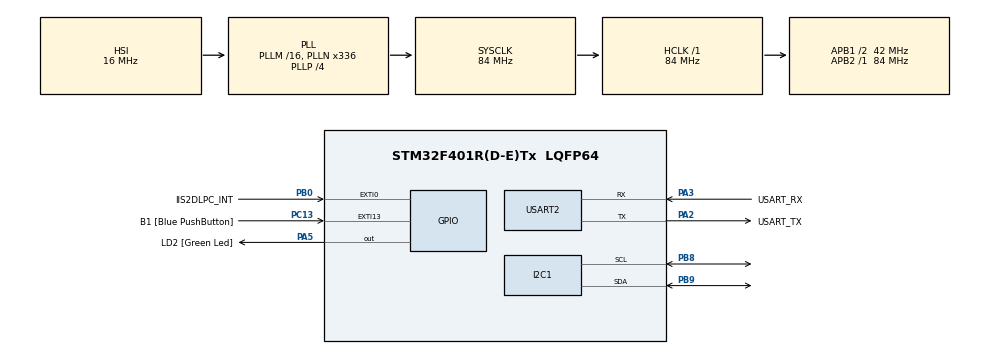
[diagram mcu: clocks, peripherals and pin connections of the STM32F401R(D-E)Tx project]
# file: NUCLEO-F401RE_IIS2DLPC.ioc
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Mcu.Family=STM32F4
Mcu.Name=STM32F401R(D-E)Tx
Mcu.Package=LQFP64
NVIC.EXTI0_IRQn=true\:0\:0\:false\:false\:true\:true\:true\:true
NVIC.EXTI15_10_IRQn=true\:0\:0\:false\:false\:true\:true\:true\:true
NVIC.PriorityGroup=NVIC_PRIORITYGROUP_0
PA2.GPIO_Label=USART_TX
PA2.GPIO_Mode=GPIO_MODE_AF_PP
PA2.GPIO_PuPd=GPIO_NOPULL
PA2.GPIO_Speed=GPIO_SPEED_FREQ_LOW
PA2.Mode=Asynchronous
PA2.Signal=USART2_TX
PA3.GPIO_Label=USART_RX
PA3.GPIO_Mode=GPIO_MODE_AF_PP
PA3.GPIO_PuPd=GPIO_NOPULL
PA3.GPIO_Speed=GPIO_SPEED_FREQ_LOW
PA3.Mode=Asynchronous
PA3.Signal=USART2_RX
PA5.GPIO_Label=LD2 [Green Led]
PA5.GPIO_Mode=GPIO_MODE_OUTPUT_PP
PA5.GPIO_PuPd=GPIO_NOPULL
PA5.GPIO_Speed=GPIO_SPEED_FREQ_LOW
PA5.Signal=GPIO_Output
PB0.GPIO_Label=IIS2DLPC_INT
PB0.Signal=GPXTI0
PB8.Mode=I2C
PB8.Signal=I2C1_SCL
PB9.Mode=I2C
PB9.Signal=I2C1_SDA
PC13-ANTI_TAMP.GPIO_Label=B1 [Blue PushButton]
PC13-ANTI_TAMP.GPIO_ModeDefaultEXTI=GPIO_MODE_IT_FALLING
PC13-ANTI_TAMP.GPIO_PuPd=GPIO_NOPULL
PC13-ANTI_TAMP.Signal=GPXTI13
ProjectManager.HeapSize=0x200
ProjectManager.StackSize=0x400
ProjectManager.TargetToolchain=STM32CubeIDE
RCC.AHBFreq_Value=84000000
RCC.APB1CLKDivider=RCC_HCLK_DIV2
RCC.APB1Freq_Value=42000000
RCC.APB1TimFreq_Value=84000000
RCC.APB2Freq_Value=84000000
RCC.APB2TimFreq_Value=84000000
RCC.CortexFreq_Value=84000000
RCC.HCLKFreq_Value=84000000
RCC.HSE_VALUE=8000000
RCC.HSI_VALUE=16000000
RCC.LSE_VALUE=32768
RCC.PLLN=336
RCC.PLLP=RCC_PLLP_DIV4
RCC.PLLQ=7
RCC.SYSCLKFreq_VALUE=84000000
RCC.SYSCLKSource=RCC_SYSCLKSOURCE_PLLCLK
RCC.VCOOutputFreq_Value=336000000
USART2.VirtualMode=VM_ASYNC
board=NUCLEO-F401RE

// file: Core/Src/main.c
/* USER CODE BEGIN Header */
/**
 ******************************************************************************
 * @file           : main.c
 * @brief          : Main program body
 ******************************************************************************
 * @attention
 *
 * Copyright (c) 2022 STMicroelectronics.
 * All rights reserved.
 *
 * This software is licensed under terms that can be found in the LICENSE file
 * in the root directory of this software component.
 * If no LICENSE file comes with this software, it is provided AS-IS.
 *
 ******************************************************************************
 */
/* USER CODE END Header */
#include "main.h"

/* USER CODE BEGIN Includes */
#include <string.h>
#include <stdio.h>
#include <iis2dlpc_reg.h>
#include <cycle_dwt.h>
#include "NanoEdgeAI.h"

/* USER CODE END Includes */

/* USER CODE BEGIN PD */
/************************************************************ NEAI algorithm defines begin ************************************************************/
/************************************************************ Global settings part ************************************************************/
#ifndef AXIS
  #define AXIS             	3                       /* Axis should be defined between 1 and 3 */
#endif
#ifndef SAMPLES
  #define SAMPLES		128                   	/* Should be between 16 & 4096 */
#endif
/************************************************************ Sensors configuration part ************************************************************/
#ifndef ACCELEROMETER_ODR
  #define ACCELEROMETER_ODR   	IIS2DLPC_XL_ODR_1k6Hz   /* Shoud be between IIS2DLPC_XL_ODR_12Hz5 and IIS2DLPC_XL_ODR_6667Hz */
#endif
#ifndef ACCELEROMETER_FS
  #define ACCELEROMETER_FS   	IIS2DLPC_2g             /* Should be between IIS2DLPC_2g and IIS2DLPC_16g */
#endif
/************************************************************ Datalogger / NEAI mode part ************************************************************/
#ifndef NEAI_MODE
  #define NEAI_MODE        	0                       /* 0: Datalogger mode, 1: NEAI functions mode */
#endif
#if (NEAI_MODE == 1)
  #ifndef NEAI_LEARN_NB
    #define NEAI_LEARN_NB       20                      /* Number of buffers to be learn by the NEAI library */
  #endif
#endif
/************************************************************ NEAI algorithm defines end ************************************************************/
/* USER CODE END PD */

I2C_HandleTypeDef hi2c1;

UART_HandleTypeDef huart2;

/* USER CODE BEGIN PV */
static uint8_t whoamI, rst;
uint8_t neai_similarity = 0, neai_state = 0;
volatile uint8_t drdy = 0;
uint16_t neai_cnt = 0, drdy_counter = 0;
float neai_time = 0.0;
static float neai_buffer[AXIS * SAMPLES] = {0.0};
stmdev_ctx_t dev_ctx;
static int16_t data_raw_acceleration[3];

/* USER CODE END PV */

void SystemClock_Config(void);
static void MX_GPIO_Init(void);
static void MX_USART2_UART_Init(void);
static void MX_I2C1_Init(void);
/* USER CODE BEGIN PFP */
static int32_t platform_write(void *handle, uint8_t reg, const uint8_t *bufp, uint16_t len);
static int32_t platform_read(void *handle, uint8_t reg, uint8_t *bufp, uint16_t len);
static void iis2dlpc_initialize(void);
static void iis2dlpc_initialize_basics(void);
static float iis2dlpc_convert_accel_data_to_mg(int16_t accel_raw_data);
static void iks01a3_i2c_stuck_quirk(void);

/* USER CODE END PFP */

int main(void)
{
  /* USER CODE BEGIN 1 */
  /* Initialize mems driver interface */
  dev_ctx.write_reg = platform_write;
  dev_ctx.read_reg = platform_read;
  dev_ctx.handle = &hi2c1;

  /* USER CODE END 1 */

  /* MCU Configuration--------------------------------------------------------*/

  /* Reset of all peripherals, Initializes the Flash interface and the Systick. */
  HAL_Init();

  /* Configure the system clock */
  SystemClock_Config();

  /* USER CODE BEGIN SysInit */
  iks01a3_i2c_stuck_quirk();
  /* USER CODE END SysInit */

  /* Initialize all configured peripherals */
  MX_GPIO_Init();
  MX_USART2_UART_Init();
  MX_I2C1_Init();
  /* USER CODE BEGIN 2 */
  KIN1_InitCycleCounter();
  KIN1_EnableCycleCounter();
  iis2dlpc_initialize();
  if (NEAI_MODE) {
      neai_state = neai_anomalydetection_init();
      printf("Initialize NEAI library. NEAI init return: %d.\n",  neai_state);
  }
  /* USER CODE END 2 */

  /* Infinite loop */
  /* USER CODE BEGIN WHILE */
  while (1)
  {
    if (drdy) {
      /* Reset data ready condition */
      drdy = 0;
      memset(data_raw_acceleration, 0x00, 3 * sizeof(int16_t));
      iis2dlpc_acceleration_raw_get(&dev_ctx, data_raw_acceleration);
      for (uint8_t i = 0; i < AXIS; i++) {
        neai_buffer[(AXIS * drdy_counter) + i] = iis2dlpc_convert_accel_data_to_mg(data_raw_acceleration[i]);
      }
      drdy_counter++;
      if (drdy_counter >= SAMPLES) {
#if NEAI_MODE
	uint32_t cycles_cnt = 0;
	if (neai_cnt < NEAI_LEARN_NB) {
	  neai_cnt++;
	  KIN1_ResetCycleCounter();
	  neai_state = neai_anomalydetection_learn(neai_buffer);
	  cycles_cnt = KIN1_GetCycleCounter();
	  neai_time = (cycles_cnt * 1000000.0) / HAL_RCC_GetSysClockFreq();
	  printf("Learn: %d / %d. NEAI learn return: %d. Cycles counter: %ld = %.1f µs at %ld Hz.\n",
		 neai_cnt, NEAI_LEARN_NB, neai_state, cycles_cnt, neai_time, HAL_RCC_GetSysClockFreq());
	}
	else {
	  KIN1_ResetCycleCounter();
	  neai_state = neai_anomalydetection_detect(neai_buffer, &neai_similarity);
	  cycles_cnt = KIN1_GetCycleCounter();
	  neai_time = (cycles_cnt * 1000000.0) / HAL_RCC_GetSysClockFreq();
	  printf("Similarity: %d / 100. NEAI detect return: %d. Cycles counter: %ld = %.1f µs at %ld Hz.\n",
		 neai_similarity, neai_state, cycles_cnt, neai_time, HAL_RCC_GetSysClockFreq());
	}
#else
	for (uint16_t i = 0; i < AXIS * SAMPLES; i++) {
	    printf("%.3f ", neai_buffer[i]);
	}
	printf("\n");
#endif
	/* Reset drdy_counter in order to get a new buffer */
	drdy_counter = 0;
	/* Clean neai buffer */
	memset(neai_buffer, 0x00, AXIS * SAMPLES * sizeof(float));
	HAL_Delay(20);

      } /* drdy_counter >= SAMPLES */
    } /* drdy */

    /* USER CODE END WHILE */

  }
}

void SystemClock_Config(void)
{
  RCC_OscInitTypeDef RCC_OscInitStruct = {0};
  RCC_ClkInitTypeDef RCC_ClkInitStruct = {0};

  /** Configure the main internal regulator output voltage
  */
  __HAL_RCC_PWR_CLK_ENABLE();
  __HAL_PWR_VOLTAGESCALING_CONFIG(PWR_REGULATOR_VOLTAGE_SCALE2);

  /** Initializes the RCC Oscillators according to the specified parameters
  * in the RCC_OscInitTypeDef structure.
  */
  RCC_OscInitStruct.OscillatorType = RCC_OSCILLATORTYPE_HSI;
  RCC_OscInitStruct.HSIState = RCC_HSI_ON;
  RCC_OscInitStruct.HSICalibrationValue = RCC_HSICALIBRATION_DEFAULT;
  RCC_OscInitStruct.PLL.PLLState = RCC_PLL_ON;
  RCC_OscInitStruct.PLL.PLLSource = RCC_PLLSOURCE_HSI;
  RCC_OscInitStruct.PLL.PLLM = 16;
  RCC_OscInitStruct.PLL.PLLN = 336;
  RCC_OscInitStruct.PLL.PLLP = RCC_PLLP_DIV4;
  RCC_OscInitStruct.PLL.PLLQ = 7;
  if (HAL_RCC_OscConfig(&RCC_OscInitStruct) != HAL_OK)
  {
    Error_Handler();
  }

  /** Initializes the CPU, AHB and APB buses clocks
  */
  RCC_ClkInitStruct.ClockType = RCC_CLOCKTYPE_HCLK|RCC_CLOCKTYPE_SYSCLK
                              |RCC_CLOCKTYPE_PCLK1|RCC_CLOCKTYPE_PCLK2;
  RCC_ClkInitStruct.SYSCLKSource = RCC_SYSCLKSOURCE_PLLCLK;
  RCC_ClkInitStruct.AHBCLKDivider = RCC_SYSCLK_DIV1;
  RCC_ClkInitStruct.APB1CLKDivider = RCC_HCLK_DIV2;
  RCC_ClkInitStruct.APB2CLKDivider = RCC_HCLK_DIV1;

  if (HAL_RCC_ClockConfig(&RCC_ClkInitStruct, FLASH_LATENCY_2) != HAL_OK)
  {
    Error_Handler();
  }
}

static void MX_I2C1_Init(void)
{

  hi2c1.Instance = I2C1;
  hi2c1.Init.ClockSpeed = 100000;
  hi2c1.Init.DutyCycle = I2C_DUTYCYCLE_2;
  hi2c1.Init.OwnAddress1 = 0;
  hi2c1.Init.AddressingMode = I2C_ADDRESSINGMODE_7BIT;
  hi2c1.Init.DualAddressMode = I2C_DUALADDRESS_DISABLE;
  hi2c1.Init.OwnAddress2 = 0;
  hi2c1.Init.GeneralCallMode = I2C_GENERALCALL_DISABLE;
  hi2c1.Init.NoStretchMode = I2C_NOSTRETCH_DISABLE;
  if (HAL_I2C_Init(&hi2c1) != HAL_OK)
  {
    Error_Handler();
  }

}

static void MX_USART2_UART_Init(void)
{

  huart2.Instance = USART2;
  huart2.Init.BaudRate = 115200;
  huart2.Init.WordLength = UART_WORDLENGTH_8B;
  huart2.Init.StopBits = UART_STOPBITS_1;
  huart2.Init.Parity = UART_PARITY_NONE;
  huart2.Init.Mode = UART_MODE_TX_RX;
  huart2.Init.HwFlowCtl = UART_HWCONTROL_NONE;
  huart2.Init.OverSampling = UART_OVERSAMPLING_16;
  if (HAL_UART_Init(&huart2) != HAL_OK)
  {
    Error_Handler();
  }

}

static void MX_GPIO_Init(void)
{
  GPIO_InitTypeDef GPIO_InitStruct = {0};

  /* GPIO Ports Clock Enable */
  __HAL_RCC_GPIOC_CLK_ENABLE();
  __HAL_RCC_GPIOA_CLK_ENABLE();
  __HAL_RCC_GPIOB_CLK_ENABLE();

  /*Configure GPIO pin Output Level */
  HAL_GPIO_WritePin(LD2_GPIO_Port, LD2_Pin, GPIO_PIN_RESET);

  /*Configure GPIO pin : B1_Pin */
  GPIO_InitStruct.Pin = B1_Pin;
  GPIO_InitStruct.Mode = GPIO_MODE_IT_FALLING;
  GPIO_InitStruct.Pull = GPIO_NOPULL;
  HAL_GPIO_Init(B1_GPIO_Port, &GPIO_InitStruct);

  /*Configure GPIO pin : LD2_Pin */
  GPIO_InitStruct.Pin = LD2_Pin;
  GPIO_InitStruct.Mode = GPIO_MODE_OUTPUT_PP;
  GPIO_InitStruct.Pull = GPIO_NOPULL;
  GPIO_InitStruct.Speed = GPIO_SPEED_FREQ_LOW;
  HAL_GPIO_Init(LD2_GPIO_Port, &GPIO_InitStruct);

  /*Configure GPIO pin : IIS2DLPC_INT_Pin */
  GPIO_InitStruct.Pin = IIS2DLPC_INT_Pin;
  GPIO_InitStruct.Mode = GPIO_MODE_IT_RISING;
  GPIO_InitStruct.Pull = GPIO_NOPULL;
  HAL_GPIO_Init(IIS2DLPC_INT_GPIO_Port, &GPIO_InitStruct);

  /* EXTI interrupt init*/
  HAL_NVIC_SetPriority(EXTI0_IRQn, 0, 0);
  HAL_NVIC_EnableIRQ(EXTI0_IRQn);

  HAL_NVIC_SetPriority(EXTI15_10_IRQn, 0, 0);
  HAL_NVIC_EnableIRQ(EXTI15_10_IRQn);

}

/* USER CODE BEGIN 4 */
int __io_putchar(int ch)
{
  uint8_t c[1];
  c[0] = ch & 0x00FF;
  HAL_UART_Transmit(&huart2, &*c, 1, 10);
  return ch;
}

/**
 * @brief  EXTI line detection callback.
 * @param  GPIO_Pin Specifies the port pin connected to corresponding EXTI line.
 * @retval None
 */
void HAL_GPIO_EXTI_Callback(uint16_t GPIO_Pin)
{
  switch(GPIO_Pin) {
    case IIS2DLPC_INT_Pin:
      drdy = 1;
      break;
  }
}

/*
 * @brief  Write generic device register (platform dependent)
 *
 * @param  handle    customizable argument. In this examples is used in
 *                   order to select the correct sensor bus handler.
 * @param  reg       register to write
 * @param  bufp      pointer to data to write in register reg
 * @param  len       number of consecutive register to write
 *
 */
static int32_t platform_write(void *handle, uint8_t reg, const uint8_t *bufp, uint16_t len)
{
  HAL_I2C_Mem_Write(handle, IIS2DLPC_I2C_ADD_H, reg, I2C_MEMADD_SIZE_8BIT, (uint8_t*) bufp, len, 1000);
  return 0;
}

/*
 * @brief  Read generic device register (platform dependent)
 *
 * @param  handle    customizable argument. In this examples is used in
 *                   order to select the correct sensor bus handler.
 * @param  reg       register to read
 * @param  bufp      pointer to buffer that store the data read
 * @param  len       number of consecutive register to read
 *
 */
static int32_t platform_read(void *handle, uint8_t reg, uint8_t *bufp, uint16_t len)
{
  HAL_I2C_Mem_Read(handle, IIS2DLPC_I2C_ADD_H, reg, I2C_MEMADD_SIZE_8BIT, bufp, len, 1000);
  return 0;
}

/*
 * @brief  Initialize IIS2DLPC sensor interface
 *
 * @param  No
 *
 * @return No
 *
 */
static void iis2dlpc_initialize()
{
  iis2dlpc_ctrl4_int1_pad_ctrl_t ctrl_reg;
  iis2dlpc_initialize_basics();
  /* Enable Block Data Update */
  iis2dlpc_block_data_update_set(&dev_ctx, PROPERTY_ENABLE);
  /* Accelelerometer configuration */
  iis2dlpc_data_rate_set(&dev_ctx, ACCELEROMETER_ODR);
  iis2dlpc_full_scale_set(&dev_ctx, ACCELEROMETER_FS);
  iis2dlpc_pin_int1_route_get(&dev_ctx, &ctrl_reg);
  ctrl_reg.int1_drdy = PROPERTY_ENABLE;
  iis2dlpc_pin_int1_route_set(&dev_ctx, &ctrl_reg);
}

/*
 * @brief  Initialize IIS2DLPC basics
 *
 * @param  No
 *
 * @return No
 *
 */
static void iis2dlpc_initialize_basics()
{
  /* Check device ID */
  whoamI = 0;

  do {
      HAL_Delay(20);
      iis2dlpc_device_id_get(&dev_ctx, &whoamI);
  } while(whoamI != IIS2DLPC_ID);

  /* Restore default configuration */
  iis2dlpc_reset_set(&dev_ctx, PROPERTY_ENABLE);

  do {
      iis2dlpc_reset_get(&dev_ctx, &rst);
  } while (rst);
}

/*
 * @brief  Convert accelerometer raw data to milli-G' (mg)
 *
 * @param  accel_raw_data: which is accelerometer raw data
 *                        depending on the full scale selected
 *
 * @return The converted value in milli-G' (mg)
 *
 */
static float iis2dlpc_convert_accel_data_to_mg(int16_t accel_raw_data)
{
  float accel_data_mg = 0.0;
  switch (ACCELEROMETER_FS)
  {
    case IIS2DLPC_2g:
      accel_data_mg = iis2dlpc_from_fs2_to_mg(accel_raw_data);
      break;
    case IIS2DLPC_4g:
      accel_data_mg = iis2dlpc_from_fs4_to_mg(accel_raw_data);
      break;
    case IIS2DLPC_8g:
      accel_data_mg = iis2dlpc_from_fs8_to_mg(accel_raw_data);
      break;
    case IIS2DLPC_16g:
      accel_data_mg = iis2dlpc_from_fs16_to_mg(accel_raw_data);
      break;
    default:
      accel_data_mg = 0.0;
      break;
  }
  return accel_data_mg;
}

/*
 * Pressing the reset button while the sensor is answering to a read request
 * might lead to disaster.
 * In this case the device is stuck, waiting for pulses on SCL to finish the
 * previous transfer.
 * While stuck the sensor keep the SDA low.
 *
 * As a workaround we simply configure the SCL pin as a GPIO and send a burst
 * of pulses to bring the sensor back to an idle state.
 */
static void iks01a3_i2c_stuck_quirk(void)
{
  GPIO_InitTypeDef GPIO_InitStruct = {0};

  /* GPIO Ports Clock Enable */
  __HAL_RCC_GPIOB_CLK_ENABLE();

  /* Configure SCL as a GPIO */
  GPIO_InitStruct.Pin = SCL_PIN;
  GPIO_InitStruct.Mode = GPIO_MODE_OUTPUT_PP;
  GPIO_InitStruct.Pull = GPIO_NOPULL;
  GPIO_InitStruct.Speed = GPIO_SPEED_FREQ_LOW;
  GPIO_InitStruct.Alternate = GPIO_AF4_I2C1;
  HAL_GPIO_Init(SCL_PORT, &GPIO_InitStruct);

  /* Send a burst of pulses on SCL */
  int pulses = 20;
  do {
    HAL_Delay(1);
    HAL_GPIO_WritePin(SCL_PORT, SCL_PIN, GPIO_PIN_RESET);
    HAL_Delay(1);
    HAL_GPIO_WritePin(SCL_PORT, SCL_PIN, GPIO_PIN_SET);
  } while (pulses--);

  /* GPIO Ports Clock Enable */
  __HAL_RCC_GPIOB_CLK_DISABLE();
}

/* USER CODE END 4 */

void Error_Handler(void)
{
  __disable_irq();
  while (1)
    {
    }
}
